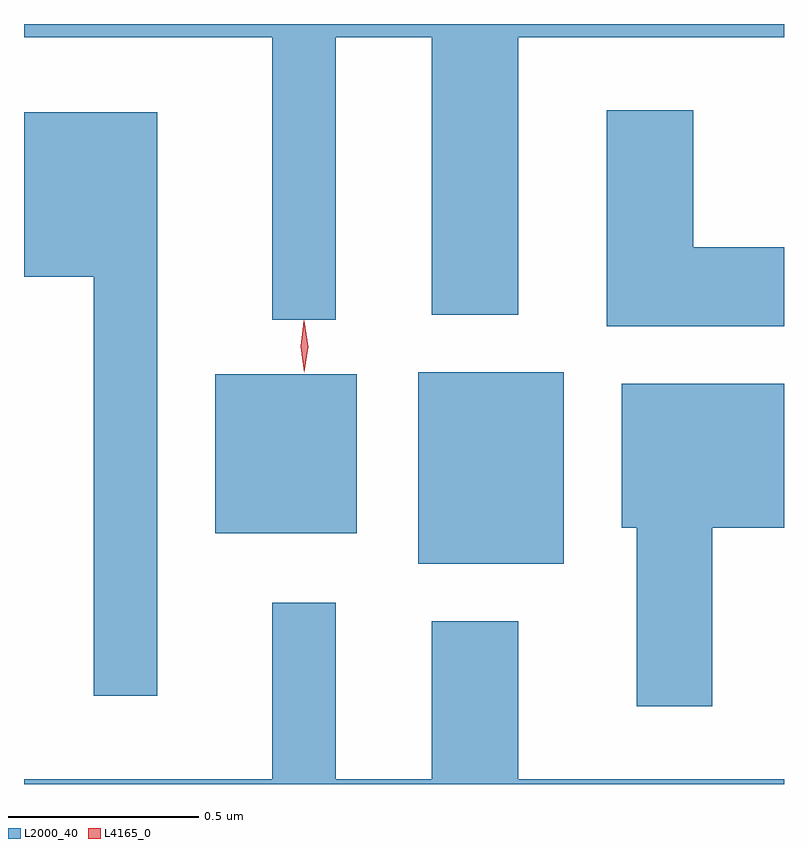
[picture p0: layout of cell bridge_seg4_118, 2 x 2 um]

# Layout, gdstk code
import gdstk
lib = gdstk.Library(unit=1e-6, precision=1e-09)
def R(c, l, rs):  # rectangles x0, y0, x1, y1
    for r in rs: c.add(gdstk.rectangle(r[:2], r[2:], *l))
def P(c, l, *ps):  # polygons
    for p in ps: c.add(gdstk.Polygon(p, *l))
L2000_40 = (2000, 40)
L4165_0 = (4165, 0)

bridge_seg4_118 = lib.new_cell('bridge_seg4_118')
R(bridge_seg4_118, L2000_40, [(810.986,1388.811,811.369,1389.314), (810.451,1388.891,810.824,1389.309)])
P(bridge_seg4_118, L2000_40, [(810.769,1390.196),(811.021,1390.196),(811.021,1389.466),(811.249,1389.466),(811.249,1390.196),(811.948,1390.196),(811.948,1390.231),(809.948,1390.231),(809.948,1390.196),(810.601,1390.196),(810.601,1389.453),(810.769,1389.453)],
  [(811.948,1389.644),(811.709,1389.644),(811.709,1390.004),(811.481,1390.004),(811.481,1389.436),(811.948,1389.436)],
  [(810.299,1389.999),(809.948,1389.999),(809.948,1389.566),(810.131,1389.566),(810.131,1388.463),(810.299,1388.463)],
  [(811.759,1388.906),(811.948,1388.906),(811.948,1389.284),(811.521,1389.284),(811.521,1388.906),(811.561,1388.906),(811.561,1388.436),(811.759,1388.436)],
  [(811.948,1388.244),(811.249,1388.244),(811.249,1388.659),(811.021,1388.659),(811.021,1388.244),(810.769,1388.244),(810.769,1388.708),(810.601,1388.708),(810.601,1388.244),(809.948,1388.244),(809.948,1388.231),(811.948,1388.231)])
P(bridge_seg4_118, L4165_0, [(810.686,1389.314),(810.686,1389.314),(810.676,1389.382),(810.684,1389.45),(810.685,1389.45),(810.686,1389.45),(810.696,1389.382),(810.686,1389.314)],
  [(810.686,1389.318),(810.685,1389.319),(810.676,1389.383),(810.684,1389.447),(810.685,1389.447),(810.686,1389.447),(810.695,1389.383),(810.686,1389.319)])

lib.write_gds('bridge_seg4_118.gds')
